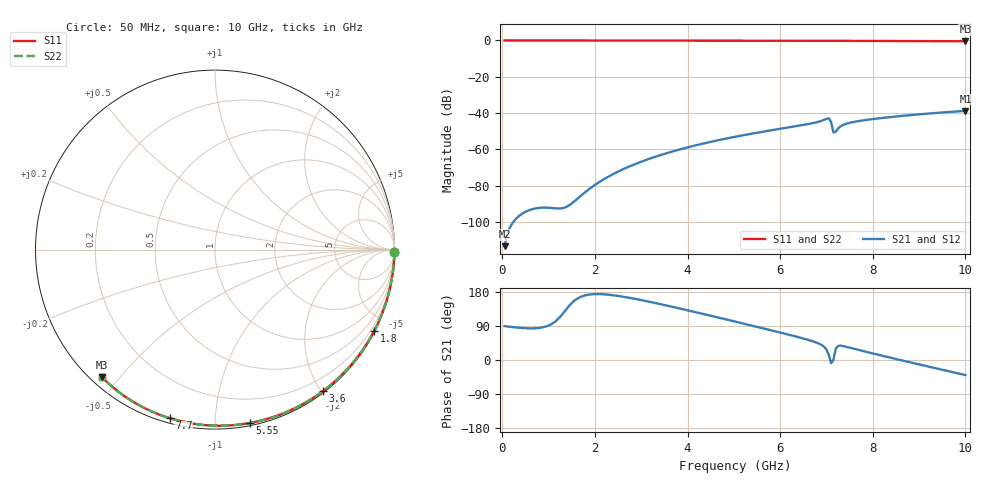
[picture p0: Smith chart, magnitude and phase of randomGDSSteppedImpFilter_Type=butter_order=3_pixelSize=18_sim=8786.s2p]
! freq	dB(S11)	phase(S11)	dB(S12)	phase(S12)
!  dB(S21)	phase(S21)	dB(S22)	phase(S22)
!S-par simulation data
#  GHz  S  DB  R 50
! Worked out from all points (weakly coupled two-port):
!   200 points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, 50 MHz to 10 GHz, reference 50 ohm
!   highest |S21| = -38.79 dB at 10 GHz (marker M1); lowest = -113.4 dB at 50 MHz (marker M2)
!   lowest |S11| = -0.4 dB at 10 GHz (marker M3), VSWR 38.83, Z = 1.55 - j22.5 ohm
!   |S11| at or under -10 dB: nowhere
!   |S22| runs from -0.4 to 0.0 dB; largest |S21 - S12| = 0
!   S11 on the Smith chart (normalised r, x): 50 MHz: open; 1.8 GHz: 0.04, -4.17; 3.6 GHz: 0.02, -2.02; 5.55 GHz: 0.02, -1.22; 7.7 GHz: 0.02, -0.77; 10 GHz: 0.03, -0.45
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0.05  -0.00 -0.8  -113.38 89.4  -113.38 89.4  -0.00 -0.8
0.9  -0.02 -13.6  -92.14 87.0  -92.14 87.0  -0.02 -13.6
1.75  -0.03 -26.2  -84.45 169.1  -84.45 169.1  -0.03 -26.2
1.8  -0.03 -26.9  -83.41 170.9  -83.41 170.9  -0.03 -27.0
2  -0.04 -29.9  -79.63 174.0  -79.63 174.0  -0.04 -29.9
2.35  -0.04 -35.0  -74.22 171.5  -74.22 171.5  -0.04 -35.0
2.65  -0.05 -39.3  -70.49 166.1  -70.49 166.1  -0.05 -39.3
3.4  -0.07 -49.9  -63.31 147.8  -63.31 147.8  -0.07 -49.9
3.6  -0.07 -52.7  -61.75 142.4  -61.75 142.4  -0.07 -52.7
4.3  -0.09 -62.3  -57.05 122.6  -57.05 122.6  -0.09 -62.3
5.05  -0.11 -72.2  -52.97 100.8  -52.97 100.8  -0.11 -72.3
5.55  -0.13 -78.7  -50.64 86.0  -50.64 86.0  -0.13 -78.8
6.7  -0.18 -93.1  -45.61 49.6  -45.61 49.6  -0.18 -93.2
7.05  -0.21 -97.5  -42.90 13.8  -42.90 13.8  -0.22 -97.6
7.1  -0.24 -98.1  -45.00 -8.2  -45.00 -8.2  -0.24 -98.2
7.15  -0.24 -98.5  -50.68 0.3  -50.68 0.3  -0.24 -98.6
7.2  -0.23 -99.1  -50.35 29.9  -50.35 29.9  -0.23 -99.1
7.25  -0.22 -99.7  -48.55 37.2  -48.55 37.2  -0.23 -99.7
7.35  -0.22 -100.9  -46.69 36.9  -46.69 36.9  -0.23 -101.0
7.7  -0.24 -105.1  -44.40 26.3  -44.40 26.3  -0.24 -105.1
8.35  -0.29 -112.7  -42.31 7.0  -42.31 7.0  -0.29 -112.8
10  -0.45 -131.5  -38.79 -39.8  -38.79 -39.8  -0.45 -131.6
